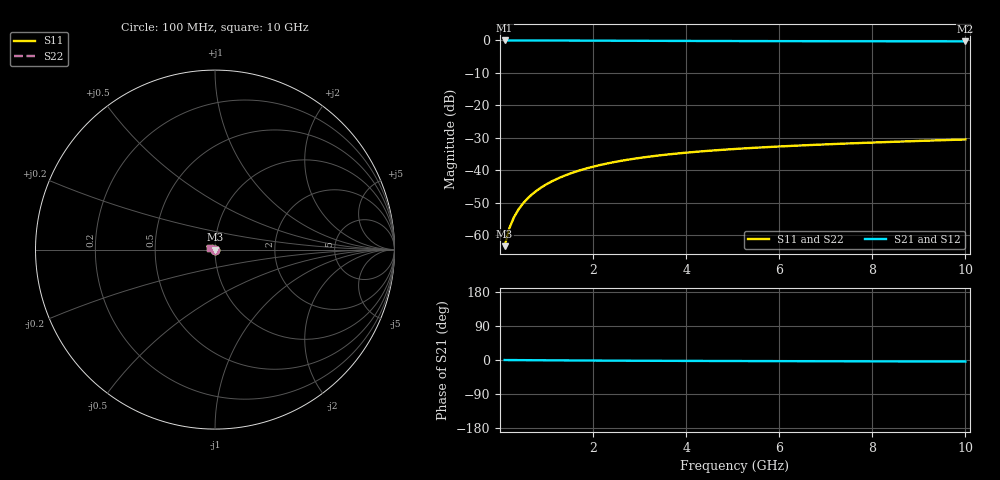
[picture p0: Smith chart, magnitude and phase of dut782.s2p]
! Touchstone file exported from HFSS 2024.1.0
!  File:  C:/UserFiles/LocalFiles/RDL_TSV_Batchsim/temp_TSV1_782_1779874614.aedt
!  Generated:  05:41:53 PM May 27, 2026
!  Design:  TSV1
!  Project:  temp_TSV1_782_1779874614
!  Setup:  Setup1
!  Solution:  Sweep
! Variables:
!  dtsv = 6.4um
!  hbump = 3um
!  htsv = 61.7um
!  lrdl = 252.1521522um
!  p = 40
!  p1 = 41.69um
!  t = 500um
!  trdl = 3um
!  wrdl = 24.89489489um
# GHz S MA R 50.000000
! Terminal data exported
! Port[1] = TSV22_T1
! Port[2] = TSV22_T2
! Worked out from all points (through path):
!   100 points, 100 MHz to 10 GHz, reference 50 ohm
!   highest |S21| = 0.00 dB at 100 MHz (marker M1); lowest = -0.3 dB at 10 GHz (marker M2)
!   lowest |S11| = -63.3 dB at 100 MHz (marker M3), VSWR 1.00, Z = 50 - j0.0624 ohm
!   |S11| at or under -10 dB: start of sweep to end of sweep
!   |S22| runs from -63.3 to -30.5 dB; largest |S21 - S12| = 2.4e-15
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0.1  0.0006834 -65.9  0.9997 -0.1  0.9997 -0.1  0.0006834 -65.9
! Gamma 0 0 0 0
! Port Impedance 50 0 50 0
0.2  0.001284 -79.9  0.9996 -0.2  0.9996 -0.2  0.001284 -79.9
0.3  0.001901 -86.2  0.9995 -0.2  0.9995 -0.2  0.001901 -86.2
0.4  0.002519 -90.3  0.9993 -0.3  0.9993 -0.3  0.002519 -90.3
0.5  0.003135 -93.5  0.9992 -0.4  0.9992 -0.4  0.003135 -93.5
0.6  0.003747 -96.2  0.9989 -0.5  0.9989 -0.5  0.003747 -96.2
0.7  0.004353 -98.6  0.9987 -0.6  0.9987 -0.6  0.004353 -98.6
0.8  0.004953 -100.9  0.9984 -0.6  0.9984 -0.6  0.004953 -100.9
0.9  0.005546 -103.0  0.9981 -0.7  0.9981 -0.7  0.005546 -103.0
1.1  0.006706 -107.1  0.9974 -0.9  0.9974 -0.9  0.006706 -107.1
1.4  0.008374 -112.7  0.9961 -1.1  0.9961 -1.1  0.008374 -112.7
1.6  0.009433 -116.2  0.9951 -1.2  0.9951 -1.2  0.009433 -116.2
1.8  0.01045 -119.6  0.9941 -1.4  0.9941 -1.4  0.01045 -119.6
2.1  0.01188 -124.5  0.9925 -1.5  0.9925 -1.5  0.01188 -124.5
2.5  0.01363 -130.5  0.9903 -1.7  0.9903 -1.7  0.01363 -130.5
2.9  0.0152 -136.1  0.9882 -1.9  0.9882 -1.9  0.0152 -136.1
3.4  0.01694 -142.6  0.9856 -2.2  0.9856 -2.2  0.01694 -142.6
4.2  0.01931 -151.8  0.9819 -2.5  0.9819 -2.5  0.01931 -151.8
5.1  0.0215 -160.8  0.9784 -2.7  0.9784 -2.7  0.0215 -160.8
6.7  0.02465 -174.1  0.9737 -3.2  0.9737 -3.2  0.02465 -174.1
8.4  0.02748 174.6  0.9704 -3.7  0.9704 -3.7  0.02748 174.6
10  0.02995 165.7  0.9681 -4.1  0.9681 -4.1  0.02995 165.7
